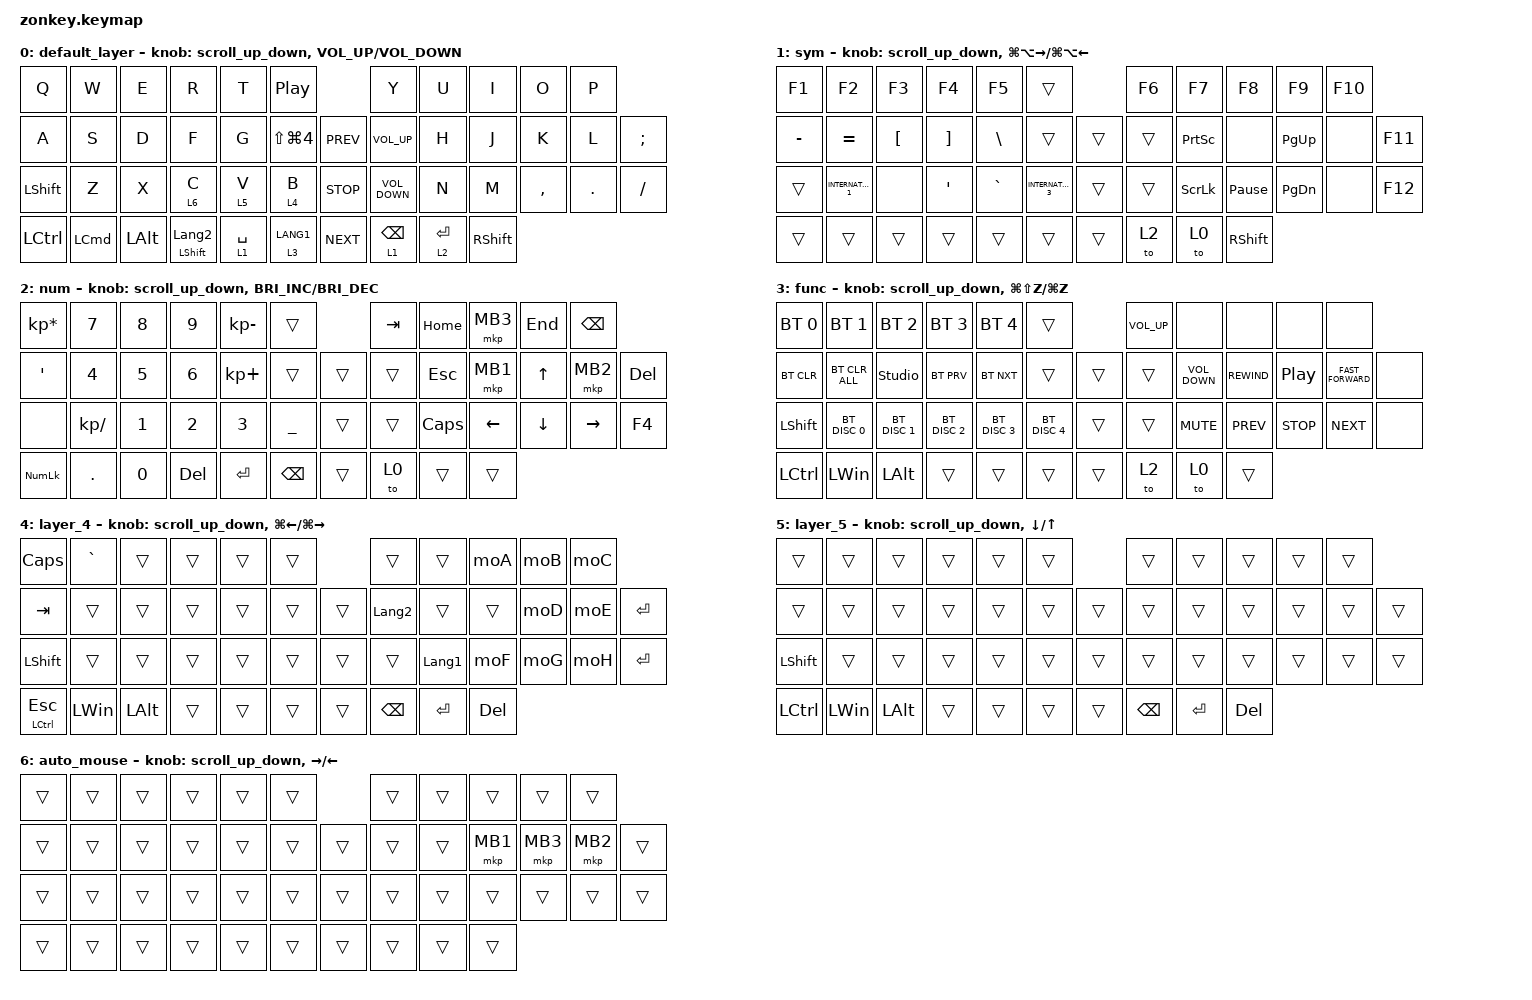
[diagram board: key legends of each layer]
#include <behaviors.dtsi>
#include <dt-bindings/zmk/bt.h>
#include <dt-bindings/zmk/keys.h>
#include <dt-bindings/zmk/pointing.h>

#define ZMK_POINTING_DEFAULT_SCRL_VAL 100
#define MOUSE 6
#define JP_DQUOTE       AT                // "
#define JP_AMPERSAND    CARET             // &
#define JP_QUOTE        AMPERSAND         // '
#define JP_EQUAL        UNDER             // =
#define JP_CARET        EQUAL             // ^
#define JP_YEN          0x89              // ¥
#define JP_PLUS         COLON             // +
#define JP_TILDE        PLUS              // ~
#define JP_PIPE         LS(0x89)          // |
#define JP_AT           LEFT_BRACKET      // @
#define JP_COLON        SINGLE_QUOTE      // :
#define JP_ASTERISK     DOUBLE_QUOTES     // *
#define JP_BACKQUOTE    LEFT_BRACE        // `
#define JP_UNDERSCORE   LS(0x87)          // _
#define JP_LBRACKET     RIGHT_BRACKET     // [
#define JP_RBRACKET     BACKSLASH         // ]
#define JP_LPAREN       ASTERISK          // (
#define JP_RPAREN       LEFT_PARENTHESIS  // )
#define JP_LBRACE       RIGHT_BRACE       // {
#define JP_RBRACE       PIPE              // }
#define JP_KANA         LANGUAGE_1        // かな
#define JP_EISU         LANGUAGE_2        // 英数
#define JP_HANZEN       GRAVE             // 半角/全角
#define JP_BSLH         INT1              // (backslash)

&mt {
    flavor = "balanced";
    quick-tap-ms = <0>;
};

/ {
    combos { compatible = "zmk,combos"; };

    mo2: mo2 {
        compatible = "zmk,behavior-mod-morph";
        #binding-cells = <0>;
        bindings = <&kp N2>, <&kp AT>;

        mods = <(MOD_LSFT|MOD_RSFT)>;
    };

    mo6: mo6 {
        compatible = "zmk,behavior-mod-morph";
        #binding-cells = <0>;
        bindings = <&kp N6>, <&kp CARET>;

        mods = <(MOD_LSFT|MOD_RSFT)>;
    };

    mo7: mo7 {
        compatible = "zmk,behavior-mod-morph";
        #binding-cells = <0>;
        bindings = <&kp N7>, <&kp AMPS>;

        mods = <(MOD_LSFT|MOD_RSFT)>;
    };

    mo8: mo8 {
        compatible = "zmk,behavior-mod-morph";
        #binding-cells = <0>;
        bindings = <&kp N8>, <&kp ASTRK>;

        mods = <(MOD_LSFT|MOD_RSFT)>;
    };

    mo9: mo9 {
        compatible = "zmk,behavior-mod-morph";
        #binding-cells = <0>;
        bindings = <&kp N9>, <&kp LPAR>;

        mods = <(MOD_LSFT|MOD_RSFT)>;
    };

    mo0: mo0 {
        compatible = "zmk,behavior-mod-morph";
        #binding-cells = <0>;
        bindings = <&kp N0>, <&kp LS(N9)>;

        mods = <(MOD_LSFT|MOD_RSFT)>;
    };

    moA: moA {
        compatible = "zmk,behavior-mod-morph";
        #binding-cells = <0>;
        bindings = <&kp MINUS>, <&kp UNDERSCORE>;

        mods = <(MOD_LSFT|MOD_RSFT)>;
    };

    moB: moB {
        compatible = "zmk,behavior-mod-morph";
        #binding-cells = <0>;
        bindings = <&kp EQUAL>, <&kp PLUS>;

        mods = <(MOD_LSFT|MOD_RSFT)>;
    };

    moC: moC {
        compatible = "zmk,behavior-mod-morph";
        #binding-cells = <0>;
        bindings = <&kp INT3>, <&kp JP_PIPE>;

        mods = <(MOD_LSFT|MOD_RSFT)>;
    };

    moD: moD {
        compatible = "zmk,behavior-mod-morph";
        #binding-cells = <0>;
        bindings = <&kp LBKT>, <&kp LBRC>;

        mods = <(MOD_LSFT|MOD_RSFT)>;
    };

    moE: moE {
        compatible = "zmk,behavior-mod-morph";
        #binding-cells = <0>;
        bindings = <&kp RBKT>, <&kp RBRC>;

        mods = <(MOD_LSFT|MOD_RSFT)>;
    };

    moF: moF {
        compatible = "zmk,behavior-mod-morph";
        #binding-cells = <0>;
        bindings = <&kp SEMI>, <&kp KP_PLUS>;

        mods = <(MOD_LSFT|MOD_RSFT)>;
    };

    moG: moG {
        compatible = "zmk,behavior-mod-morph";
        #binding-cells = <0>;
        bindings = <&kp APOSTROPHE>, <&kp DQT>;

        mods = <(MOD_LSFT|MOD_RSFT)>;
    };

    moH: moH {
        compatible = "zmk,behavior-mod-morph";
        #binding-cells = <0>;
        bindings = <&kp BACKSLASH>, <&kp TILDE2>;

        mods = <(MOD_LSFT|MOD_RSFT)>;
    };

    moI: moI {
        compatible = "zmk,behavior-mod-morph";
        #binding-cells = <0>;
        bindings = <&kp JP_BSLH>, <&kp JP_UNDERSCORE>;

        mods = <(MOD_LSFT|MOD_RSFT)>;
    };

    macros {
        to_layer_0: to_layer_0 {
            compatible = "zmk,behavior-macro-one-param";
            #binding-cells = <1>;
            bindings = <&to 0 &macro_param_1to1 &kp MACRO_PLACEHOLDER>;
            label = "TO_LAYER_0";
        };
    };

    behaviors {
        lt_repeat: lt_repeat {
            compatible = "zmk,behavior-hold-tap";
            label = "LAYER_TAP_REPEAT";
            bindings = <&mo>, <&kp>;

            #binding-cells = <2>;
            flavor = "hold-preferred";  // 長押しを少し強めに優先
            tapping-term-ms = <1000>;    // 長押し判定（好みに応じて200〜300で調整）
            quick-tap-ms = <900>;      // タップ+長押しでリピートさせる時間
        };

        rsr_vol: rsr_vol {
            compatible = "zmk,behavior-runtime-sensor-rotate";
            #sensor-binding-cells = <0>;
            tap-ms = <5>;
            cw-binding = <&kp C_VOL_UP>;
            ccw-binding = <&kp C_VOL_DN>;
        };

        scroll_up_down: behavior_sensor_rotate_mouse_wheel_up_down {
            compatible = "zmk,behavior-sensor-rotate";
            #sensor-binding-cells = <0>;
            bindings = <&msc SCRL_DOWN>, <&msc SCRL_UP>;

            tap-ms = <20>;
        };
    };

    keymap {
        compatible = "zmk,keymap";

        default_layer {
            bindings = <
&kp Q           &kp W             &kp E         &kp R                      &kp T               &kp C_PLAY_PAUSE                  &kp Y                   &kp U               &kp I            &kp O      &kp P
&kp A           &kp S             &kp D         &kp F                      &kp G               &kp LS(LG(NUMBER_4))  &kp C_PREV  &kp C_VOL_UP            &kp H               &kp J            &kp K      &kp L    &kp SEMICOLON
&kp LEFT_SHIFT  &kp Z             &kp X         &lt 6 C                    &lt 5 V             &lt 4 B               &kp C_STOP  &kp C_VOLUME_DOWN       &kp N               &kp M            &kp COMMA  &kp DOT  &kp SLASH
&kp LCTRL       &kp LEFT_COMMAND  &kp LEFT_ALT  &mt LEFT_SHIFT LANGUAGE_2  &lt_repeat 1 SPACE  &lt 3 LANG1           &kp C_NEXT  &lt_repeat 1 BACKSPACE  &lt_repeat 2 ENTER  &kp RIGHT_SHIFT
            >;

            sensor-bindings =
                <&scroll_up_down>,
                <&inc_dec_kp C_VOLUME_UP C_VOLUME_DOWN>;
        };

        sym {
            bindings = <
&kp F1     &kp F2               &kp F3            &kp F4             &kp F5         &trans                       &kp F6  &kp F7           &kp F8           &kp F9         &kp F10
&kp MINUS  &kp EQUAL            &kp LEFT_BRACKET  &kp RIGHT_BRACKET  &kp BACKSLASH  &trans               &trans  &trans  &kp PRINTSCREEN  &none            &kp PAGE_UP    &none    &kp F11
&trans     &kp INTERNATIONAL_1  &none             &kp SINGLE_QUOTE   &kp GRAVE      &kp INTERNATIONAL_3  &trans  &trans  &kp SCROLLLOCK   &kp PAUSE_BREAK  &kp PAGE_DOWN  &none    &kp F12
&trans     &trans               &trans            &trans             &trans         &trans               &trans  &to 2   &to 0            &kp RIGHT_SHIFT
            >;

            sensor-bindings =
                <&scroll_up_down>,
                <&inc_dec_kp LG(LA(RIGHT)) LG(LA(LEFT))>;
        };

        num {
            // -----------------------------------------------------------------------------------------
            // |  1  |  2  |  3  |  4  |  5  |                     |  6  |  7  |  8  |  9  |   0  |
            // |      |     |     |     |     |     |           |    |     |     |     |  ↑  |      |
            // |SHIFT|     |     |     |     |     |           |     |     |     |  ←  |  ↓  |  →  |
            // | CTRL| WIN | ALT |HENKAN|SPACE|MUHENKAN|         | BS | ENT |                   | DEL |

            bindings = <
&kp KP_ASTERISK   &kp N7        &kp NUMBER_8  &kp NUMBER_9  &kp KP_MINUS  &trans                 &kp TAB  &kp HOME    &mkp MB3        &kp END         &kp BACKSPACE
&kp SINGLE_QUOTE  &kp NUMBER_4  &kp NUMBER_5  &kp NUMBER_6  &kp KP_PLUS   &trans         &trans  &trans   &kp ESCAPE  &mkp MB1        &kp UP_ARROW    &mkp MB2         &kp DELETE
&none             &kp KP_SLASH  &kp NUMBER_1  &kp NUMBER_2  &kp NUMBER_3  &kp UNDER      &trans  &trans   &kp CLCK    &kp LEFT_ARROW  &kp DOWN_ARROW  &kp RIGHT_ARROW  &kp F4
&kp KP_NUMLOCK    &kp PERIOD    &kp NUMBER_0  &kp DELETE    &kp ENTER     &kp BACKSPACE  &trans  &to 0    &trans      &trans
            >;

            sensor-bindings =
                <&scroll_up_down>,
                <&inc_dec_kp C_BRIGHTNESS_INC C_BRI_DEC>;
        };

        func {
            bindings = <
&bt BT_SEL 0    &bt BT_SEL 1    &bt BT_SEL 2    &bt BT_SEL 3   &bt BT_SEL 4   &trans                 &kp C_VOLUME_UP  &none              &none         &none             &none
&bt BT_CLR      &bt BT_CLR_ALL  &studio_unlock  &bt BT_PRV     &bt BT_NXT     &trans         &trans  &trans           &kp C_VOLUME_DOWN  &kp C_REWIND  &kp C_PLAY_PAUSE  &kp C_FAST_FORWARD  &none
&kp LEFT_SHIFT  &bt BT_DISC 0   &bt BT_DISC 1   &bt BT_DISC 2  &bt BT_DISC 3  &bt BT_DISC 4  &trans  &trans           &kp C_MUTE         &kp C_PREV    &kp C_STOP        &kp C_NEXT          &none
&kp LCTRL       &kp LEFT_WIN    &kp LEFT_ALT    &trans         &trans         &trans         &trans  &to 2            &to 0              &trans
            >;

            sensor-bindings = <&scroll_up_down>, <&inc_dec_kp LG(LS(Z)) LG(Z)>;
        };

        layer_4 {
            // -----------------------------------------------------------------------------------------
            // |CAPS　| 　　|     |     |                    　　　　　　 |     |     |  -  |  ^  |  ¥  |
            // | TAB |     |     |     |     |     |              |    |     |     |     |  @  |  [  |
            // |SHIFT|     |     |     |     |     |           　 | 英数 | かな |    |  ; |  :  |  ]  |
            // | CTRL| WIN | ALT |HENKAN|SPACE|MUHENKAN|         | BS | ENT |                   | DEL |

            bindings = <
&kp CAPSLOCK    &kp GRAVE     &trans        &trans  &trans  &trans          &trans         &trans       &moA     &moB  &moC
&kp TAB         &trans        &trans        &trans  &trans  &trans  &trans  &kp JP_EISU    &trans       &trans   &moD  &moE  &kp ENTER
&kp LEFT_SHIFT  &trans        &trans        &trans  &trans  &trans  &trans  &trans         &kp JP_KANA  &moF     &moG  &moH  &kp ENTER
&mt LCTL ESC    &kp LEFT_WIN  &kp LEFT_ALT  &trans  &trans  &trans  &trans  &kp BACKSPACE  &kp ENTER    &kp DEL
            >;

            sensor-bindings =
                <&scroll_up_down>,
                <&inc_dec_kp LG(LEFT) LG(RIGHT)>;
        };

        layer_5 {
            bindings = <
&trans          &trans        &trans        &trans  &trans  &trans          &trans         &trans     &trans   &trans  &trans
&trans          &trans        &trans        &trans  &trans  &trans  &trans  &trans         &trans     &trans   &trans  &trans  &trans
&kp LEFT_SHIFT  &trans        &trans        &trans  &trans  &trans  &trans  &trans         &trans     &trans   &trans  &trans  &trans
&kp LCTRL       &kp LEFT_WIN  &kp LEFT_ALT  &trans  &trans  &trans  &trans  &kp BACKSPACE  &kp ENTER  &kp DEL
            >;

            sensor-bindings = <&scroll_up_down>, <&inc_dec_kp DOWN UP_ARROW>;
        };

        auto_mouse {
            bindings = <
&trans  &trans  &trans  &trans  &trans  &trans          &trans  &trans  &trans    &trans    &trans
&trans  &trans  &trans  &trans  &trans  &trans  &trans  &trans  &trans  &mkp MB1  &mkp MB3  &mkp MB2  &trans
&trans  &trans  &trans  &trans  &trans  &trans  &trans  &trans  &trans  &trans    &trans    &trans    &trans
&trans  &trans  &trans  &trans  &trans  &trans  &trans  &trans  &trans  &trans
            >;

            sensor-bindings = <&scroll_up_down>, <&inc_dec_kp RIGHT LEFT>;
        };
    };
};
